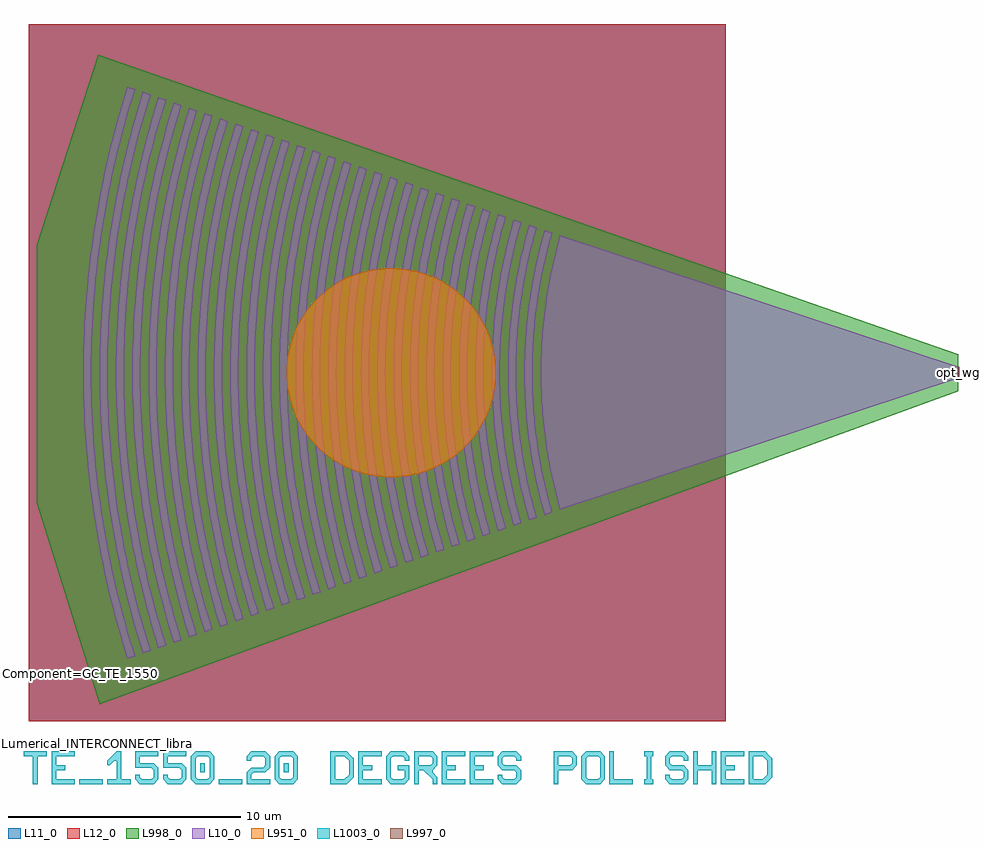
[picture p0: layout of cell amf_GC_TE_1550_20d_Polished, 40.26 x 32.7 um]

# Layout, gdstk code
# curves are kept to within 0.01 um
import gdstk
lib = gdstk.Library(unit=1e-6, precision=1e-09)
def R(c, l, rs):  # rectangles x0, y0, x1, y1
    for r in rs: c.add(gdstk.rectangle(r[:2], r[2:], *l))
def P(c, l, *ps):  # polygons
    for p in ps: c.add(gdstk.Polygon(p, *l))
L10_0 = (10, 0)
L11_0 = (11, 0)
L12_0 = (12, 0)
L951_0 = (951, 0)
L997_0 = (997, 0)
L998_0 = (998, 0)
L1003_0 = (1003, 0)

amf_gc_te_1550_20d_polis = lib.new_cell('amf_GC_TE_1550_20d_Polished')
R(amf_gc_te_1550_20d_polis, L10_0, [(-1,-0.25,0,0.25)])
P(amf_gc_te_1550_20d_polis, L10_0, [(-27.104,-9.333),(-27.427,-8.209),(-27.709,-7.075),(-27.948,-5.933),(-28.146,-4.784),(-28.3,-3.629),(-28.412,-2.47),(-28.482,-1.309),(-28.508,-0.145),(-28.492,1.018),(-28.434,2.18),(-28.332,3.34),(-28.146,4.784),(-27.948,5.933),(-27.709,7.075),(-27.427,8.209),(-27.104,9.333),(-26.772,9.218),(-27.091,8.108),(-27.368,6.988),(-27.605,5.86),(-27.799,4.725),(-27.952,3.584),(-28.062,2.44),(-28.131,1.293),(-28.157,0.144),(-28.131,-1.293),(-28.062,-2.44),(-27.952,-3.584),(-27.799,-4.725),(-27.605,-5.86),(-27.368,-6.988),(-27.091,-8.108),(-26.772,-9.218)],
  [(-27.769,-9.562),(-28.101,-8.41),(-28.39,-7.249),(-28.636,-6.079),(-28.839,-4.902),(-28.997,-3.719),(-29.113,-2.531),(-29.184,-1.341),(-29.211,-0.149),(-29.195,1.043),(-29.135,2.234),(-29.03,3.422),(-28.839,4.902),(-28.636,6.079),(-28.39,7.249),(-28.101,8.41),(-27.769,9.562),(-27.436,9.447),(-27.764,8.309),(-28.05,7.162),(-28.292,6.006),(-28.492,4.843),(-28.649,3.674),(-28.762,2.501),(-28.833,1.325),(-28.86,0.147),(-28.844,-1.031),(-28.784,-2.207),(-28.649,-3.674),(-28.492,-4.843),(-28.292,-6.006),(-28.05,-7.162),(-27.764,-8.309),(-27.436,-9.447)],
  [(-28.433,-9.79),(-28.774,-8.612),(-29.071,-7.423),(-29.324,-6.225),(-29.532,-5.019),(-29.695,-3.808),(-29.813,-2.592),(-29.886,-1.373),(-29.914,-0.153),(-29.897,1.068),(-29.836,2.288),(-29.729,3.504),(-29.577,4.717),(-29.38,5.924),(-29.139,7.124),(-28.853,8.315),(-28.433,9.79),(-28.101,9.676),(-28.438,8.511),(-28.731,7.336),(-28.98,6.152),(-29.185,4.96),(-29.346,3.763),(-29.463,2.562),(-29.535,1.357),(-29.563,0.151),(-29.546,-1.056),(-29.485,-2.261),(-29.379,-3.463),(-29.23,-4.662),(-28.98,-6.152),(-28.731,-7.336),(-28.438,-8.511),(-28.101,-9.676)],
  [(-29.098,-10.019),(-29.448,-8.813),(-29.752,-7.597),(-30.011,-6.371),(-30.225,-5.137),(-30.392,-3.897),(-30.513,-2.653),(-30.588,-1.405),(-30.617,-0.156),(-30.6,1.093),(-30.513,2.653),(-30.392,3.897),(-30.225,5.137),(-30.011,6.371),(-29.752,7.597),(-29.448,8.813),(-29.098,10.019),(-28.766,9.905),(-29.111,8.712),(-29.412,7.51),(-29.668,6.298),(-29.878,5.078),(-30.043,3.853),(-30.163,2.623),(-30.237,1.389),(-30.266,0.154),(-30.249,-1.081),(-30.186,-2.315),(-30.078,-3.546),(-29.924,-4.772),(-29.725,-5.994),(-29.412,-7.51),(-29.111,-8.712),(-28.766,-9.905)],
  [(-29.763,-10.248),(-30.121,-9.015),(-30.434,-7.77),(-30.699,-6.517),(-30.918,-5.255),(-31.089,-3.987),(-31.214,-2.714),(-31.291,-1.438),(-31.32,-0.16),(-31.303,1.118),(-31.214,2.714),(-31.089,3.987),(-30.918,5.255),(-30.699,6.517),(-30.434,7.77),(-30.121,9.015),(-29.763,10.248),(-29.43,10.134),(-29.785,8.914),(-30.093,7.684),(-30.355,6.444),(-30.571,5.196),(-30.741,3.942),(-30.864,2.684),(-30.94,1.422),(-30.969,0.158),(-30.951,-1.106),(-30.887,-2.368),(-30.776,-3.628),(-30.618,-4.883),(-30.414,-6.132),(-30.093,-7.684),(-29.785,-8.914),(-29.43,-10.134)],
  [(-30.427,-10.477),(-30.795,-9.216),(-31.115,-7.944),(-31.387,-6.663),(-31.611,-5.373),(-31.787,-4.076),(-31.914,-2.775),(-31.993,-1.47),(-32.023,-0.163),(-31.993,1.47),(-31.914,2.775),(-31.787,4.076),(-31.611,5.373),(-31.387,6.663),(-31.115,7.944),(-30.795,9.216),(-30.427,10.477),(-30.095,10.363),(-30.458,9.116),(-30.774,7.857),(-31.043,6.59),(-31.264,5.314),(-31.438,4.032),(-31.564,2.744),(-31.642,1.454),(-31.672,0.162),(-31.654,-1.131),(-31.588,-2.422),(-31.474,-3.71),(-31.312,-4.994),(-31.103,-6.271),(-30.846,-7.541),(-30.542,-8.802),(-30.095,-10.363)],
  [(-31.092,-10.706),(-31.468,-9.418),(-31.796,-8.118),(-32.075,-6.809),(-32.304,-5.491),(-32.484,-4.166),(-32.614,-2.836),(-32.695,-1.502),(-32.726,-0.167),(-32.708,1.169),(-32.639,2.503),(-32.521,3.834),(-32.354,5.16),(-32.075,6.809),(-31.796,8.118),(-31.468,9.418),(-31.092,10.706),(-30.76,10.591),(-31.132,9.317),(-31.455,8.031),(-31.731,6.736),(-31.957,5.432),(-32.135,4.121),(-32.264,2.805),(-32.344,1.486),(-32.375,0.165),(-32.356,-1.156),(-32.289,-2.476),(-32.172,-3.792),(-31.957,-5.432),(-31.731,-6.736),(-31.455,-8.031),(-31.132,-9.317),(-30.76,-10.591)],
  [(-31.757,-10.935),(-32.142,-9.62),(-32.477,-8.292),(-32.762,-6.955),(-32.997,-5.608),(-33.181,-4.255),(-33.315,-2.897),(-33.398,-1.535),(-33.429,-0.171),(-33.41,1.194),(-33.34,2.556),(-33.219,3.916),(-33.048,5.271),(-32.826,6.619),(-32.553,7.959),(-32.142,9.62),(-31.757,10.935),(-31.425,10.82),(-31.805,9.519),(-32.136,8.205),(-32.418,6.882),(-32.65,5.549),(-32.833,4.21),(-32.965,2.866),(-33.046,1.518),(-33.078,0.169),(-33.059,-1.181),(-32.99,-2.53),(-32.87,-3.875),(-32.701,-5.215),(-32.481,-6.549),(-32.212,-7.875),(-31.893,-9.191),(-31.425,-10.82)],
  [(-32.422,-11.164),(-32.815,-9.821),(-33.158,-8.466),(-33.45,-7.101),(-33.69,-5.726),(-33.879,-4.345),(-34.015,-2.958),(-34.1,-1.567),(-34.132,-0.174),(-34.113,1.219),(-34.015,2.958),(-33.879,4.345),(-33.69,5.726),(-33.45,7.101),(-33.158,8.466),(-32.815,9.821),(-32.422,11.164),(-32.089,11.049),(-32.479,9.72),(-32.818,8.379),(-33.106,7.028),(-33.344,5.667),(-33.53,4.3),(-33.665,2.927),(-33.749,1.551),(-33.781,0.172),(-33.762,-1.206),(-33.691,-2.583),(-33.53,-4.3),(-33.344,-5.667),(-33.106,-7.028),(-32.818,-8.379),(-32.479,-9.72),(-32.089,-11.049)],
  [(-33.086,-11.393),(-33.489,-10.023),(-33.839,-8.64),(-34.138,-7.247),(-34.383,-5.844),(-34.576,-4.434),(-34.715,-3.018),(-34.802,-1.599),(-34.835,-0.178),(-34.815,1.244),(-34.742,2.664),(-34.616,4.081),(-34.533,4.787),(-34.383,5.844),(-34.138,7.247),(-33.839,8.64),(-33.489,10.023),(-33.086,11.393),(-32.754,11.278),(-33.152,9.922),(-33.499,8.553),(-33.794,7.174),(-34.037,5.785),(-34.227,4.389),(-34.365,2.988),(-34.451,1.583),(-34.484,0.176),(-34.464,-1.231),(-34.392,-2.637),(-34.267,-4.039),(-34.037,-5.785),(-33.794,-7.174),(-33.499,-8.553),(-33.152,-9.922),(-32.754,-11.278)],
  [(-33.751,-11.621),(-34.162,-10.224),(-34.521,-8.814),(-34.825,-7.393),(-35.076,-5.962),(-35.273,-4.523),(-35.416,-3.079),(-35.504,-1.631),(-35.538,-0.181),(-35.518,1.269),(-35.467,2.356),(-35.416,3.079),(-35.273,4.523),(-35.076,5.962),(-34.825,7.393),(-34.521,8.814),(-34.162,10.224),(-33.751,11.621),(-33.419,11.507),(-33.826,10.123),(-34.18,8.727),(-34.481,7.32),(-34.73,5.903),(-34.924,4.479),(-35.066,3.049),(-35.153,1.615),(-35.187,0.18),(-35.167,-1.256),(-35.093,-2.691),(-34.965,-4.122),(-34.834,-5.192),(-34.73,-5.903),(-34.481,-7.32),(-34.18,-8.727),(-33.826,-10.123),(-33.419,-11.507)],
  [(-34.416,-11.85),(-34.836,-10.426),(-35.202,-8.988),(-35.513,-7.539),(-35.769,-6.08),(-35.97,-4.613),(-36.116,-3.14),(-36.207,-1.664),(-36.241,-0.185),(-36.22,1.294),(-36.144,2.771),(-36.012,4.245),(-35.825,5.714),(-35.582,7.175),(-35.285,8.627),(-35.026,9.708),(-34.836,10.426),(-34.416,11.85),(-34.083,11.736),(-34.499,10.325),(-34.861,8.901),(-35.169,7.466),(-35.423,6.021),(-35.622,4.568),(-35.766,3.11),(-35.855,1.647),(-35.89,0.183),(-35.869,-1.282),(-35.794,-2.744),(-35.701,-3.84),(-35.622,-4.568),(-35.423,-6.021),(-35.169,-7.466),(-34.861,-8.901),(-34.499,-10.325),(-34.083,-11.736)],
  [(-35.08,-12.079),(-35.509,-10.627),(-35.883,-9.162),(-36.201,-7.685),(-36.462,-6.197),(-36.668,-4.702),(-36.817,-3.201),(-36.909,-1.696),(-36.944,-0.188),(-36.923,1.319),(-36.845,2.825),(-36.71,4.327),(-36.519,5.824),(-36.402,6.57),(-36.201,7.685),(-35.883,9.162),(-35.509,10.627),(-35.08,12.079),(-34.748,11.965),(-35.173,10.527),(-35.542,9.075),(-35.857,7.612),(-36.116,6.138),(-36.319,4.658),(-36.466,3.171),(-36.558,1.68),(-36.593,0.187),(-36.589,-0.56),(-36.558,-1.68),(-36.466,-3.171),(-36.319,-4.658),(-36.116,-6.138),(-35.857,-7.612),(-35.542,-9.075),(-35.173,-10.527),(-34.748,-11.965)],
  [(-35.745,-12.308),(-36.183,-10.829),(-36.564,-9.336),(-36.888,-7.83),(-37.155,-6.315),(-37.365,-4.792),(-37.517,-3.262),(-37.611,-1.728),(-37.647,-0.192),(-37.626,1.344),(-37.546,2.879),(-37.408,4.41),(-37.213,5.935),(-36.96,7.453),(-36.813,8.208),(-36.564,9.336),(-36.183,10.829),(-35.745,12.308),(-35.413,12.194),(-35.846,10.728),(-36.223,9.249),(-36.544,7.758),(-36.809,6.256),(-37.016,4.747),(-37.167,3.232),(-37.26,1.712),(-37.296,0.19),(-37.285,-0.951),(-37.26,-1.712),(-37.167,-3.232),(-37.016,-4.747),(-36.809,-6.256),(-36.544,-7.758),(-36.223,-9.249),(-35.846,-10.728),(-35.413,-12.194)],
  [(-17.133,-5.9),(-17.325,-5.185),(-17.492,-4.466),(-17.633,-3.743),(-17.75,-3.017),(-17.841,-2.288),(-17.907,-1.557),(-17.948,-0.825),(-17.964,-0.092),(-17.948,0.825),(-17.907,1.557),(-17.841,2.288),(-17.75,3.017),(-17.633,3.743),(-17.492,4.466),(-17.325,5.185),(-17.133,5.9),(0,0.25),(0,-0.25)],
  [(-17.798,-6.128),(-17.999,-5.387),(-18.173,-4.64),(-18.321,-3.889),(-18.443,-3.135),(-18.538,-2.377),(-18.607,-1.618),(-18.65,-0.857),(-18.667,-0.095),(-18.657,0.667),(-18.607,1.618),(-18.538,2.377),(-18.443,3.135),(-18.321,3.889),(-18.173,4.64),(-17.999,5.387),(-17.798,6.128),(-17.466,6.014),(-17.662,5.286),(-17.832,4.553),(-17.977,3.816),(-18.096,3.076),(-18.19,2.333),(-18.257,1.587),(-18.299,0.841),(-18.315,0.093),(-18.305,-0.654),(-18.27,-1.401),(-18.209,-2.146),(-18.122,-2.89),(-18.009,-3.631),(-17.871,-4.369),(-17.662,-5.286),(-17.466,-6.014)],
  [(-18.463,-6.357),(-18.672,-5.588),(-18.854,-4.814),(-19.009,-4.035),(-19.136,-3.252),(-19.235,-2.467),(-19.308,-1.679),(-19.352,-0.889),(-19.37,-0.099),(-19.359,0.692),(-19.308,1.679),(-19.235,2.467),(-19.136,3.252),(-19.009,4.035),(-18.854,4.814),(-18.672,5.588),(-18.463,6.357),(-18.131,6.243),(-18.287,5.677),(-18.514,4.727),(-18.665,3.962),(-18.789,3.194),(-18.887,2.422),(-18.957,1.648),(-19.001,0.873),(-19.018,0.097),(-19.008,-0.679),(-18.971,-1.455),(-18.887,-2.422),(-18.789,-3.194),(-18.665,-3.962),(-18.514,-4.727),(-18.287,-5.677),(-18.131,-6.243)],
  [(-19.128,-6.586),(-19.346,-5.79),(-19.535,-4.988),(-19.696,-4.181),(-19.829,-3.37),(-19.933,-2.556),(-20.008,-1.74),(-20.055,-0.921),(-20.073,-0.102),(-20.055,0.921),(-20.008,1.74),(-19.933,2.556),(-19.829,3.37),(-19.696,4.181),(-19.535,4.988),(-19.346,5.79),(-19.128,6.586),(-18.795,6.472),(-19.009,5.689),(-19.195,4.901),(-19.388,3.909),(-19.482,3.311),(-19.584,2.511),(-19.658,1.709),(-19.703,0.905),(-19.721,0.101),(-19.71,-0.704),(-19.658,-1.709),(-19.584,-2.511),(-19.482,-3.311),(-19.388,-3.909),(-19.195,-4.901),(-19.009,-5.689),(-18.795,-6.472)],
  [(-19.792,-6.815),(-20.019,-5.991),(-20.216,-5.162),(-20.384,-4.327),(-20.522,-3.488),(-20.63,-2.646),(-20.708,-1.801),(-20.757,-0.954),(-20.775,-0.106),(-20.764,0.742),(-20.723,1.589),(-20.652,2.435),(-20.552,3.278),(-20.421,4.118),(-20.261,4.954),(-20.071,5.785),(-19.792,6.815),(-19.46,6.701),(-19.682,5.891),(-19.876,5.075),(-20.04,4.254),(-20.175,3.429),(-20.281,2.601),(-20.358,1.77),(-20.406,0.938),(-20.424,0.104),(-20.413,-0.729),(-20.373,-1.562),(-20.303,-2.393),(-20.205,-3.222),(-20.077,-4.048),(-19.92,-4.87),(-19.682,-5.891),(-19.46,-6.701)],
  [(-20.457,-7.044),(-20.693,-6.193),(-20.898,-5.336),(-21.072,-4.473),(-21.215,-3.606),(-21.327,-2.735),(-21.409,-1.861),(-21.459,-0.986),(-21.478,-0.11),(-21.467,0.767),(-21.409,1.861),(-21.327,2.735),(-21.215,3.606),(-21.072,4.473),(-20.898,5.336),(-20.693,6.193),(-20.457,7.044),(-20.125,6.929),(-20.356,6.092),(-20.557,5.249),(-20.728,4.4),(-20.868,3.547),(-20.979,2.69),(-21.059,1.831),(-21.108,0.97),(-21.127,0.108),(-21.116,-0.754),(-21.074,-1.616),(-21.001,-2.476),(-20.899,-3.333),(-20.766,-4.187),(-20.603,-5.037),(-20.356,-6.092),(-20.125,-6.929)],
  [(-21.122,-7.273),(-21.366,-6.395),(-21.579,-5.51),(-21.759,-4.619),(-21.908,-3.724),(-22.025,-2.824),(-22.109,-1.922),(-22.161,-1.018),(-22.181,-0.113),(-22.169,0.792),(-22.109,1.922),(-22.025,2.824),(-21.908,3.724),(-21.759,4.619),(-21.579,5.51),(-21.366,6.395),(-21.122,7.273),(-20.789,7.158),(-21.029,6.294),(-21.238,5.423),(-21.416,4.546),(-21.561,3.665),(-21.676,2.78),(-21.759,1.892),(-21.81,1.002),(-21.83,0.111),(-21.818,-0.78),(-21.775,-1.67),(-21.7,-2.558),(-21.593,-3.444),(-21.416,-4.546),(-21.238,-5.423),(-21.029,-6.294),(-20.789,-7.158)],
  [(-21.786,-7.502),(-22.04,-6.596),(-22.26,-5.684),(-22.447,-4.765),(-22.601,-3.841),(-22.722,-2.914),(-22.809,-1.983),(-22.864,-1.051),(-22.884,-0.117),(-22.872,0.817),(-22.826,1.75),(-22.722,2.914),(-22.601,3.841),(-22.447,4.765),(-22.26,5.684),(-22.04,6.596),(-21.786,7.502),(-21.454,7.387),(-21.703,6.495),(-21.919,5.597),(-22.103,4.692),(-22.255,3.783),(-22.373,2.869),(-22.459,1.953),(-22.512,1.034),(-22.533,0.115),(-22.521,-0.805),(-22.476,-1.723),(-22.398,-2.64),(-22.255,-3.783),(-22.103,-4.692),(-21.919,-5.597),(-21.703,-6.495),(-21.454,-7.387)],
  [(-22.451,-7.731),(-22.713,-6.798),(-22.941,-5.857),(-23.135,-4.911),(-23.294,-3.959),(-23.419,-3.003),(-23.51,-2.044),(-23.566,-1.083),(-23.587,-0.12),(-23.575,0.842),(-23.527,1.804),(-23.445,2.764),(-23.329,3.721),(-23.178,4.673),(-22.993,5.621),(-22.713,6.798),(-22.451,7.731),(-22.119,7.616),(-22.376,6.697),(-22.6,5.77),(-22.791,4.838),(-22.948,3.9),(-23.071,2.959),(-23.16,2.014),(-23.215,1.067),(-23.236,0.119),(-23.223,-0.83),(-23.177,-1.777),(-23.096,-2.723),(-22.982,-3.665),(-22.833,-4.604),(-22.651,-5.538),(-22.376,-6.697),(-22.119,-7.616)],
  [(-23.116,-7.959),(-23.387,-6.999),(-23.622,-6.031),(-23.822,-5.057),(-23.987,-4.077),(-24.116,-3.093),(-24.21,-2.105),(-24.268,-1.115),(-24.29,-0.124),(-24.277,0.867),(-24.228,1.858),(-24.143,2.846),(-24.023,3.831),(-23.867,4.812),(-23.676,5.788),(-23.387,6.999),(-23.116,7.959),(-22.783,7.845),(-23.05,6.898),(-23.282,5.944),(-23.479,4.984),(-23.641,4.018),(-23.768,3.048),(-23.86,2.075),(-23.917,1.099),(-23.939,0.122),(-23.926,-0.855),(-23.878,-1.831),(-23.768,-3.048),(-23.641,-4.018),(-23.479,-4.984),(-23.282,-5.944),(-23.05,-6.898),(-22.783,-7.845)],
  [(-23.78,-8.188),(-24.06,-7.201),(-24.303,-6.205),(-24.51,-5.203),(-24.68,-4.195),(-24.814,-3.182),(-24.91,-2.166),(-24.97,-1.147),(-24.993,-0.128),(-24.98,0.892),(-24.929,1.911),(-24.841,2.928),(-24.717,3.942),(-24.51,5.203),(-24.303,6.205),(-24.06,7.201),(-23.78,8.188),(-23.448,8.074),(-23.723,7.1),(-23.963,6.118),(-24.166,5.13),(-24.334,4.136),(-24.465,3.137),(-24.56,2.135),(-24.619,1.131),(-24.642,0.126),(-24.619,-1.131),(-24.56,-2.135),(-24.465,-3.137),(-24.334,-4.136),(-24.166,-5.13),(-23.963,-6.118),(-23.723,-7.1),(-23.448,-8.074)],
  [(-24.445,-8.417),(-24.734,-7.402),(-24.984,-6.379),(-25.198,-5.349),(-25.373,-4.313),(-25.511,-3.272),(-25.611,-2.227),(-25.673,-1.18),(-25.696,-0.131),(-25.673,1.18),(-25.611,2.227),(-25.511,3.272),(-25.373,4.313),(-25.198,5.349),(-24.984,6.379),(-24.734,7.402),(-24.445,8.417),(-24.113,8.303),(-24.397,7.302),(-24.644,6.292),(-24.854,5.276),(-25.027,4.254),(-25.162,3.227),(-25.261,2.196),(-25.322,1.163),(-25.345,0.129),(-25.322,-1.163),(-25.261,-2.196),(-25.162,-3.227),(-25.027,-4.254),(-24.854,-5.276),(-24.644,-6.292),(-24.397,-7.302),(-24.113,-8.303)],
  [(-25.11,-8.646),(-25.407,-7.604),(-25.666,-6.553),(-25.885,-5.495),(-26.066,-4.43),(-26.208,-3.361),(-26.311,-2.288),(-26.375,-1.212),(-26.399,-0.135),(-26.385,0.943),(-26.331,2.019),(-26.238,3.093),(-26.106,4.163),(-25.934,5.229),(-25.666,6.553),(-25.407,7.604),(-25.11,8.646),(-24.778,8.532),(-25.07,7.503),(-25.325,6.466),(-25.542,5.422),(-25.72,4.372),(-25.86,3.316),(-25.961,2.257),(-26.024,1.196),(-26.048,0.133),(-26.024,-1.196),(-25.961,-2.257),(-25.86,-3.316),(-25.72,-4.372),(-25.542,-5.422),(-25.325,-6.466),(-25.07,-7.503),(-24.778,-8.532)],
  [(-25.775,-8.875),(-26.08,-7.805),(-26.347,-6.727),(-26.573,-5.641),(-26.759,-4.548),(-26.906,-3.45),(-27.012,-2.349),(-27.077,-1.244),(-27.102,-0.138),(-27.087,0.968),(-27.032,2.073),(-26.936,3.175),(-26.8,4.274),(-26.573,5.641),(-26.347,6.727),(-26.08,7.805),(-25.775,8.875),(-25.442,8.76),(-25.744,7.705),(-26.006,6.64),(-26.229,5.568),(-26.413,4.489),(-26.557,3.406),(-26.661,2.318),(-26.726,1.228),(-26.751,0.136),(-26.736,-0.955),(-26.681,-2.046),(-26.587,-3.134),(-26.453,-4.219),(-26.279,-5.299),(-26.066,-6.373),(-25.744,-7.705),(-25.442,-8.76)],
  [(-26.439,-9.104),(-26.754,-8.007),(-27.028,-6.901),(-27.261,-5.787),(-27.453,-4.666),(-27.603,-3.54),(-27.712,-2.409),(-27.779,-1.276),(-27.805,-0.142),(-27.79,0.993),(-27.733,2.126),(-27.603,3.54),(-27.453,4.666),(-27.261,5.787),(-27.028,6.901),(-26.754,8.007),(-26.439,9.104),(-26.107,8.989),(-26.417,7.906),(-26.687,6.814),(-26.917,5.714),(-27.106,4.607),(-27.254,3.495),(-27.362,2.379),(-27.428,1.26),(-27.454,0.14),(-27.439,-0.98),(-27.382,-2.1),(-27.285,-3.216),(-27.147,-4.33),(-26.968,-5.438),(-26.749,-6.54),(-26.489,-7.634),(-26.107,-8.989)])
R(amf_gc_te_1550_20d_polis, L11_0, [(-40,-15,-10,15)])
R(amf_gc_te_1550_20d_polis, L12_0, [(-40,-15,-10,15)])
P(amf_gc_te_1550_20d_polis, L951_0, [(-24.62,-4.5),(-25.06,-4.457),(-25.494,-4.37),(-25.917,-4.242),(-26.325,-4.073),(-26.715,-3.864),(-27.083,-3.619),(-27.425,-3.338),(-27.737,-3.026),(-28.018,-2.684),(-28.263,-2.316),(-28.472,-1.926),(-28.641,-1.518),(-28.769,-1.095),(-28.856,-0.661),(-28.899,-0.221),(-28.899,0.221),(-28.856,0.661),(-28.769,1.095),(-28.641,1.518),(-28.472,1.926),(-28.263,2.316),(-28.018,2.684),(-27.737,3.026),(-27.425,3.338),(-27.083,3.619),(-26.715,3.864),(-26.325,4.073),(-25.917,4.242),(-25.494,4.37),(-25.06,4.457),(-24.62,4.5),(-24.178,4.5),(-23.738,4.457),(-23.304,4.37),(-22.881,4.242),(-22.473,4.073),(-22.083,3.864),(-21.715,3.619),(-21.373,3.338),(-21.061,3.026),(-20.78,2.684),(-20.535,2.316),(-20.326,1.926),(-20.157,1.518),(-20.029,1.095),(-19.942,0.661),(-19.899,0.221),(-19.899,-0.221),(-19.942,-0.661),(-20.029,-1.095),(-20.157,-1.518),(-20.326,-1.926),(-20.535,-2.316),(-20.78,-2.684),(-21.061,-3.026),(-21.373,-3.338),(-21.715,-3.619),(-22.083,-3.864),(-22.473,-4.073),(-22.881,-4.242),(-23.304,-4.37),(-23.738,-4.457),(-24.178,-4.5)])
P(amf_gc_te_1550_20d_polis, L998_0, [(-36.93,-14.26),(-39.65,-5.6),(-39.65,5.474),(-37.01,13.68),(0,0.8),(0,-0.8)])
R(amf_gc_te_1550_20d_polis, L1003_0, [(-37.81,-17.7,-36.81,-17.5), (-31.81,-17.7,-30.81,-17.5), (-32.61,-17.2,-32.41,-16.8), (-29.01,-17.2,-28.81,-16.8)])
P(amf_gc_te_1550_20d_polis, L1003_0, [(-39.81,-17.7),(-39.81,-16.5),(-40.21,-16.5),(-40.21,-16.3),(-39.21,-16.3),(-39.21,-16.5),(-39.61,-16.5),(-39.61,-17.7)],
  [(-39.01,-17.7),(-39.01,-16.3),(-38.01,-16.3),(-38.01,-16.5),(-38.81,-16.5),(-38.81,-16.9),(-38.41,-16.9),(-38.41,-17.1),(-38.81,-17.1),(-38.81,-17.5),(-38.01,-17.5),(-38.01,-17.7)],
  [(-36.61,-17.7),(-36.61,-17.5),(-36.21,-17.5),(-36.21,-16.7),(-36.31,-16.7),(-36.51,-16.9),(-36.61,-16.9),(-36.61,-16.7),(-36.21,-16.3),(-36.01,-16.3),(-36.01,-17.5),(-35.61,-17.5),(-35.61,-17.7)],
  [(-35.21,-17.7),(-35.41,-17.5),(-35.41,-17.3),(-35.21,-17.3),(-35.21,-17.4),(-35.11,-17.5),(-34.71,-17.5),(-34.61,-17.4),(-34.61,-17.1),(-34.71,-17),(-35.41,-17),(-35.41,-16.3),(-34.41,-16.3),(-34.41,-16.5),(-35.21,-16.5),(-35.21,-16.8),(-34.61,-16.8),(-34.41,-17),(-34.41,-17.5),(-34.61,-17.7)],
  [(-34.01,-17.7),(-34.21,-17.5),(-34.21,-17.3),(-34.01,-17.3),(-34.01,-17.4),(-33.91,-17.5),(-33.51,-17.5),(-33.41,-17.4),(-33.41,-17.1),(-33.51,-17),(-34.21,-17),(-34.21,-16.3),(-33.21,-16.3),(-33.21,-16.5),(-34.01,-16.5),(-34.01,-16.8),(-33.41,-16.8),(-33.21,-17),(-33.21,-17.5),(-33.41,-17.7)],
  [(-32.81,-17.7),(-33.01,-17.5),(-33.01,-16.5),(-32.81,-16.3),(-32.21,-16.3),(-32.01,-16.5),(-32.71,-16.5),(-32.81,-16.6),(-32.81,-17.4),(-32.71,-17.5),(-32.31,-17.5),(-32.21,-17.4),(-32.21,-16.6),(-32.31,-16.5),(-32.01,-16.5),(-32.01,-17.5),(-32.21,-17.7)],
  [(-30.61,-17.7),(-30.61,-17.2),(-30.41,-17),(-29.91,-17),(-29.81,-16.9),(-29.81,-16.6),(-29.91,-16.5),(-30.31,-16.5),(-30.41,-16.6),(-30.41,-16.7),(-30.61,-16.7),(-30.61,-16.5),(-30.41,-16.3),(-29.81,-16.3),(-29.61,-16.5),(-29.61,-17),(-29.81,-17.2),(-30.31,-17.2),(-30.41,-17.3),(-30.41,-17.5),(-29.61,-17.5),(-29.61,-17.7)],
  [(-29.21,-17.7),(-29.41,-17.5),(-29.41,-16.5),(-29.21,-16.3),(-28.61,-16.3),(-28.41,-16.5),(-29.11,-16.5),(-29.21,-16.6),(-29.21,-17.4),(-29.11,-17.5),(-28.71,-17.5),(-28.61,-17.4),(-28.61,-16.6),(-28.71,-16.5),(-28.41,-16.5),(-28.41,-17.5),(-28.61,-17.7)],
  [(-27.01,-17.7),(-27.01,-16.3),(-26.31,-16.3),(-26.11,-16.5),(-26.81,-16.5),(-26.81,-17.5),(-26.41,-17.5),(-26.21,-17.3),(-26.21,-16.7),(-26.41,-16.5),(-26.11,-16.5),(-26.01,-16.6),(-26.01,-17.4),(-26.31,-17.7)],
  [(-25.81,-17.7),(-25.81,-16.3),(-24.81,-16.3),(-24.81,-16.5),(-25.61,-16.5),(-25.61,-16.9),(-25.21,-16.9),(-25.21,-17.1),(-25.61,-17.1),(-25.61,-17.5),(-24.81,-17.5),(-24.81,-17.7)],
  [(-24.41,-17.7),(-24.61,-17.5),(-24.61,-16.5),(-24.41,-16.3),(-23.81,-16.3),(-23.61,-16.5),(-23.61,-16.7),(-23.81,-16.7),(-23.81,-16.6),(-23.91,-16.5),(-24.31,-16.5),(-24.41,-16.6),(-24.41,-17.4),(-24.31,-17.5),(-23.91,-17.5),(-23.81,-17.4),(-23.81,-17.1),(-24.11,-17.1),(-24.11,-16.9),(-23.61,-16.9),(-23.61,-17.5),(-23.81,-17.7)],
  [(-23.41,-17.7),(-23.41,-16.3),(-22.61,-16.3),(-22.41,-16.5),(-23.21,-16.5),(-23.21,-16.9),(-22.71,-16.9),(-22.61,-16.8),(-22.61,-16.6),(-22.71,-16.5),(-22.41,-16.5),(-22.41,-16.9),(-22.61,-17.1),(-22.61,-17.2),(-22.41,-17.4),(-22.41,-17.7),(-22.61,-17.7),(-22.61,-17.5),(-23.01,-17.1),(-23.21,-17.1),(-23.21,-17.7)],
  [(-22.21,-17.7),(-22.21,-16.3),(-21.21,-16.3),(-21.21,-16.5),(-22.01,-16.5),(-22.01,-16.9),(-21.61,-16.9),(-21.61,-17.1),(-22.01,-17.1),(-22.01,-17.5),(-21.21,-17.5),(-21.21,-17.7)],
  [(-21.01,-17.7),(-21.01,-16.3),(-20.01,-16.3),(-20.01,-16.5),(-20.81,-16.5),(-20.81,-16.9),(-20.41,-16.9),(-20.41,-17.1),(-20.81,-17.1),(-20.81,-17.5),(-20.01,-17.5),(-20.01,-17.7)],
  [(-19.61,-17.7),(-19.81,-17.5),(-19.81,-17.3),(-19.61,-17.3),(-19.61,-17.4),(-19.51,-17.5),(-19.11,-17.5),(-19.01,-17.4),(-19.01,-17.2),(-19.11,-17.1),(-19.61,-17.1),(-19.81,-16.9),(-19.81,-16.5),(-19.61,-16.3),(-19.01,-16.3),(-18.81,-16.5),(-18.81,-16.7),(-19.01,-16.7),(-19.01,-16.6),(-19.11,-16.5),(-19.51,-16.5),(-19.61,-16.6),(-19.61,-16.8),(-19.51,-16.9),(-19.01,-16.9),(-18.81,-17.1),(-18.81,-17.5),(-19.01,-17.7)],
  [(-17.41,-17.7),(-17.41,-16.3),(-16.61,-16.3),(-16.41,-16.5),(-16.41,-16.9),(-16.61,-17.1),(-17.21,-17.1),(-17.21,-16.9),(-16.71,-16.9),(-16.61,-16.8),(-16.61,-16.6),(-16.71,-16.5),(-17.21,-16.5),(-17.21,-17.7)],
  [(-16.01,-17.7),(-16.21,-17.5),(-16.21,-16.5),(-16.01,-16.3),(-15.41,-16.3),(-15.21,-16.5),(-15.21,-17),(-15.41,-17),(-15.41,-16.6),(-15.51,-16.5),(-15.91,-16.5),(-16.01,-16.6),(-16.01,-17.4),(-15.91,-17.5),(-15.51,-17.5),(-15.41,-17.4),(-15.41,-17),(-15.21,-17),(-15.21,-17.5),(-15.41,-17.7)],
  [(-15.01,-17.7),(-15.01,-16.3),(-14.81,-16.3),(-14.81,-17.5),(-14.01,-17.5),(-14.01,-17.7)],
  [(-13.51,-17.7),(-13.51,-17.5),(-13.41,-17.5),(-13.41,-16.5),(-13.51,-16.5),(-13.51,-16.3),(-13.11,-16.3),(-13.11,-16.5),(-13.21,-16.5),(-13.21,-17.5),(-13.11,-17.5),(-13.11,-17.7)],
  [(-12.41,-17.7),(-12.61,-17.5),(-12.61,-17.3),(-12.41,-17.3),(-12.41,-17.4),(-12.31,-17.5),(-11.91,-17.5),(-11.81,-17.4),(-11.81,-17.2),(-11.91,-17.1),(-12.41,-17.1),(-12.61,-16.9),(-12.61,-16.5),(-12.41,-16.3),(-11.81,-16.3),(-11.61,-16.5),(-11.61,-16.7),(-11.81,-16.7),(-11.81,-16.6),(-11.91,-16.5),(-12.31,-16.5),(-12.41,-16.6),(-12.41,-16.8),(-12.31,-16.9),(-11.81,-16.9),(-11.61,-17.1),(-11.61,-17.5),(-11.81,-17.7)],
  [(-11.41,-17.7),(-11.41,-16.3),(-11.21,-16.3),(-11.21,-16.9),(-10.61,-16.9),(-10.61,-16.3),(-10.41,-16.3),(-10.41,-17.7),(-10.61,-17.7),(-10.61,-17.1),(-11.21,-17.1),(-11.21,-17.7)],
  [(-10.21,-17.7),(-10.21,-16.3),(-9.21,-16.3),(-9.21,-16.5),(-10.01,-16.5),(-10.01,-16.9),(-9.61,-16.9),(-9.61,-17.1),(-10.01,-17.1),(-10.01,-17.5),(-9.21,-17.5),(-9.21,-17.7)],
  [(-9.01,-17.7),(-9.01,-16.3),(-8.31,-16.3),(-8.11,-16.5),(-8.81,-16.5),(-8.81,-17.5),(-8.41,-17.5),(-8.21,-17.3),(-8.21,-16.7),(-8.41,-16.5),(-8.11,-16.5),(-8.01,-16.6),(-8.01,-17.4),(-8.31,-17.7)])
amf_gc_te_1550_20d_polis.add(gdstk.FlexPath([(-0.05,0),(0.05,0)], 0.5, ends="flush", simple_path=True, layer=997, datatype=0))  # L997_0
amf_gc_te_1550_20d_polis.add(gdstk.Label('opt_wg', (0,0), layer=997, texttype=0))
amf_gc_te_1550_20d_polis.add(gdstk.Label('Lumerical_INTERCONNECT_library=Design kits/SiEPIC_AMF', (-39.98,-15.96), layer=998, texttype=0))
amf_gc_te_1550_20d_polis.add(gdstk.Label('Component=GC_TE_1550', (-39.98,-12.96), layer=998, texttype=0))

lib.write_gds('amf_GC_TE_1550_20d_Polished.gds')
